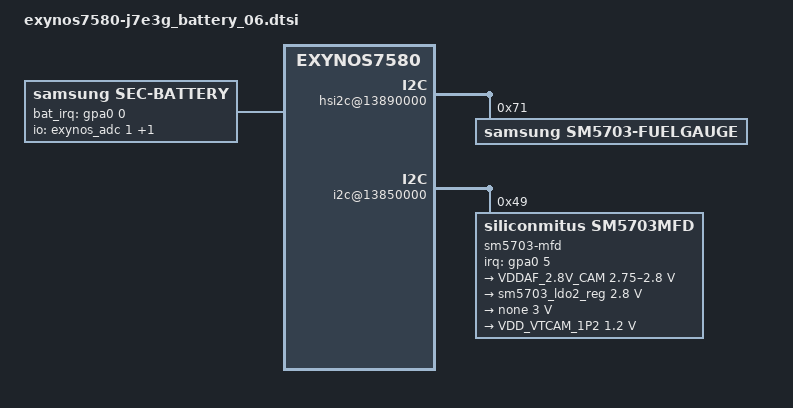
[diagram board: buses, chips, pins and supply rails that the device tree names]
/*
 * SAMSUNG UNIVERSAL5430 board device tree source
 *
 * Copyright (c) 2013 Samsung Electronics Co., Ltd.
 *		http://www.samsung.com
 *
 * This program is free software; you can redistribute it and/or modify
 * it under the terms of the GNU General Public License version 2 as
 * published by the Free Software Foundation.
*/

/ {
	pinctrl@139B0000 {
		fuel_irq: fuel-irq {
			samsung,pins = "gpa0-1";
			samsung,pin-function = <0>;
			samsung,pin-pud = <0>;
			samsung,pin-drv = <0>;
		};

		bat_irq: bat-irq {
			samsung,pins = "gpa0-0";
			samsung,pin-function = <0>;
			samsung,pin-pud = <0>;
			samsung,pin-drv = <0>;
		};
	};

	pinctrl@139B0000 {
		if_pmic_irq: if-pmic-irq {
			samsung,pins = "gpa0-5";
			samsung,pin-function = <0>;
			samsung,pin-pud = <0>;
			samsung,pin-drv = <0>;
		};
	};

	pinctrl@139C0000 {
		chg_en: chg-en {
			samsung,pins = "gpd3-1";
			samsung,pin-function = <1>;
			samsung,pin-pud = <0>;
			samsung,pin-drv = <0>;
		};
	};

	hsi2c@13890000 {
		status = "okay";
		sm5703-fuelgauge@71 {
			compatible = "samsung,sm5703-fuelgauge";
			reg = <0x71>;
			pinctrl-names = "default";
			pinctrl-0 = <&fuel_irq>;
			fuelgauge,fuel_int = <&gpa0 1 0>;
			fuelgauge,fuel_alert_soc = <2>;
			fuelgauge,capacity_max = <990>;
			fuelgauge,capacity_max_margin = <70>;
			fuelgauge,capacity_min = <0>;
			fuelgauge,capacity_calculation_type = <28>;
			fuelgauge,type_str = "SDI";
		};
	};

	battery_params {
		battery,id = <0>;
		battery0,battery_type = <4400>; /* 4200 4350 4400 */
		battery0,battery_table0 = <0x1400 0x1B33 0x1C0F 0x1D24 0x1D72 0x1D80 0x1DEC 0x1E19 0x1E5D 0x1ECC 0x1EF6 0x1F62 0x2004 0x20CC 0x22B0 0x2400>;
		battery0,battery_table1 = <0x1400 0x1B33 0x1C0F 0x1D24 0x1D72 0x1D80 0x1DEC 0x1E19 0x1E5D 0x1ECC 0x1EF6 0x1F62 0x2004 0x20CC 0x22B0 0x2400>;
		battery0,battery_table2 = <0x00 0x37 0x99 0x133 0x1CD 0x300 0x4CD 0x600 0x999 0xC99 0xD33 0xE66 0x10CC 0x1333 0x1800 0x1806>;
		battery0,temp_std = <25>;
		battery0,temp_offset = <10>;
		battery0,temp_offset_cal = <0x01>;
		battery0,rce_value = <0x0749 0x0580 0x371>;
		battery0,dtcd_value = <0x1>;
		battery0,rs_value = <0x1ae 0x47a 0x3800 0x00a4>; /*rs mix_factor max min*/
		battery0,vit_period = <0x350a>;
		battery0,mix_value = <0x0503 0x0004>; /*mix_rate init_blank*/
		battery0,topoff_soc = <0x0 0x05>; /*enable soc*/
		battery0,volt_cal = <0x8000>;
		battery0,curr_cal = <0x6900>;
		battery0,charge_offset_cal = <0x4>;
	};

	battery {
		status = "okay";

		pinctrl-names = "default";

		compatible = "samsung,sec-battery";
		battery,vendor = "SDI SDI";
		battery,charger_name = "sm5703-charger";
		battery,fuelgauge_name = "sm5703-fuelgauge";
		battery,technology = <2>; /* POWER_SUPPLY_TECHNOLOGY_LION */
		/* .temp_cohot = -1000; */
		/* .temp_cocold = -4325; */

		battery,chip_vendor = "LSI";
		battery,temp_adc_type = <1>; /* SEC_BATTERY_ADC_TYPE_AP */

		battery,polling_time = <10 30 30 30 3600>;

		battery,temp_table_adc = <332 342 352 363 373 383 393 403 414 424 434 450 466 482 498 515 530 
					546 561 577 593 610 627 644 661 681 701 722 744 769 789 810 837 856 872 
					924 950 970 984 1008 1032 1050 1090 1143 1170 1205 1235 1263 1335 1390 1459 
					1495 1532 1568 1605 1642 1692 1743 1793 1844 1895 1933 1972 2010 2049 2088 2126 
					2165 2203 2242 2281 2317 2353 2389 2425 2461 2509 2557 2612 2653 2706 2734 2767
					2800 2832 2911 2940 2980 3010 3050 3098 3130 3167 3200 3235 3269 3280 3290 3300
					3320 3340 3350 3360 3367 3386 3404 3409 3418 3426 3434 3442>;

		battery,temp_table_data = <900 890 880 870 860 850 840 830 820 810 800 790 780 770 760 750 740 730 720 710 700 690
					   680 670 660 650 640 630 620 610 600 590 580 570 560 550 540 530 520 510 500 490 480 470
					   460 450 440 430 420 410 400 390 380 370 360 350 340 330 320 310 300 290 280 270 260 250
					   240 230 220 210 200 190 180 170 160 150 140 130 120 110 100 90 80 70 60 50 40 30 20 10 
					   0 (-10) (-20) (-30) (-40) (-50) (-60) (-70) (-80) (-90) (-100) (-110) (-120) (-130) (-140)
					   (-150) (-160) (-170) (-180) (-190) (-200)>;

		battery,input_current_limit = <1500 0 0 1500 460 900 1000 460 1000 0 760 1450 1500 0 0 400 700 1300 300 1000 1500 0 1450 1000 1500 80 1500 1500 1400 450>;
		battery,fast_charging_current = <2000 0 0 2000 460 1200 1000 460 1200 0 900 1600 2000 0 0 400 700 1300 300 1000 1900 0 2000 1000 2000 80 1800 1000 1400 450>;
		battery,full_check_current_1st = <200 0 0 200 200 200 200 200 200 0 200 200 200 0 0 200 200 200 200 200 200 0 200 200 200 0 200 200 200 200>;
		battery,full_check_current_2nd = <100 0 0 100 100 100 100 100 100 0 100 100 100 0 0 100 100 100 100 100 100 0 100 100 100 0 100 100 100 100>;

		battery,inbat_voltage = <0>;
		battery,inbat_voltage_table_adc = <3120 3101 3061 3038 3001 2956 2920 2887 2856 2814
						2793 2754 2720 2677 2641 2613 2572 2531 2502 2467 2436>;
		battery,inbat_voltage_table_data = <438 435 430 425 420 415 410 405 400 395
						390 385 380 375 370 365 360 355 350 345 340>;

		battery,adc_check_count = <5>;

		battery,cable_check_type = <4>; /* SEC_BATTERY_CABLE_CHECK_NOUSBCHARGE | SEC_BATTERY_CABLE_CHECK_PSY */
		battery,cable_source_type = <1>; /* SEC_BATTERY_CABLE_SOURCE_EXTERNAL */
		battery,event_waiting_time = <600>;
		battery,polling_type = <1>; /* SEC_BATTERY_MONITOR_ALARM */
		battery,monitor_initial_count = <0>;

		battery,battery_check_type = <6>; /* SEC_BATTERY_CHECK_CHARGER */
		battery,check_count = <0>;
		pinctrl-0 = <&bat_irq>;
		battery,bat_irq_gpio = <&gpa0 0 0>;
		battery,bat_irq_attr = <0x00002003>;

		battery,ovp_uvlo_check_type = <3>; /* SEC_BATTERY_OVP_UVLO_CHGPOLLING */

		battery,thermal_source = <2>; /* SEC_BATTERY_THERMAL_SOURCE_ADC */

		battery,temp_check_type = <2>; /* SEC_BATTERY_TEMP_CHECK_TEMP */
		battery,temp_check_count = <1>;
		battery,temp_highlimit_threshold_event = <800>;
		battery,temp_highlimit_recovery_event = <750>;
		battery,temp_high_threshold_event = <580>;
		battery,temp_high_recovery_event = <530>;
		battery,temp_low_threshold_event = <(-50)>;
		battery,temp_low_recovery_event = <0>;
		battery,temp_highlimit_threshold_normal = <800>;
		battery,temp_highlimit_recovery_normal = <750>;
		battery,temp_high_threshold_normal = <580>;
		battery,temp_high_recovery_normal = <530>;
		battery,temp_low_threshold_normal = <(-50)>;
		battery,temp_low_recovery_normal = <0>;
		battery,temp_highlimit_threshold_lpm = <800>;
		battery,temp_highlimit_recovery_lpm = <750>;
		battery,temp_high_threshold_lpm = <580>;
		battery,temp_high_recovery_lpm = <530>;
		battery,temp_low_threshold_lpm = <(-50)>;
		battery,temp_low_recovery_lpm = <0>;
		battery,full_check_type = <7>; /* SEC_BATTERY_FULLCHARGED_CHGPSY */
		battery,full_check_type_2nd = <7>; /* SEC_BATTERY_FULLCHARGED_CHGPSY */
		battery,full_check_count = <1>;
		battery,chg_gpio_full_check = <0>;
		battery,chg_polarity_full_check = <1>;

		/* SEC_BATTERY_FULL_CONDITION_SOC |
		   SEC_BATTERY_FULL_CONDITION_NOTIMEFULL |
		   SEC_BATTERY_FULL_CONDITION_VCELL */
		battery,full_condition_type = <13>;
		battery,full_condition_soc = <93>;
		battery,full_condition_vcell = <4300>;

		battery,recharge_check_count = <2>;
		battery,recharge_condition_type = <4>; /* SEC_BATTERY_RECHARGE_CONDITION_VCELL */
		battery,recharge_condition_soc = <98>;
		battery,recharge_condition_vcell = <4350>;

		battery,charging_total_time = <21600>;
		battery,recharging_total_time = <5400>;
		battery,charging_reset_time = <0>;

		battery,always_enable;

		io-channels = <&exynos_adc 1>, <&exynos_adc 3>;
		io-channel-names = "adc-temp", "bat-id";
		#io-channel-cells = <1>;
		io-channel-ranges;

		battery,chg_float_voltage = <4400>;

		battery,self_discharging_en;
		battery,force_discharging_limit = <650>;
		battery,force_discharging_recov = <550>;
		battery,self_discharging_voltage_limit = <4250>;
		battery,discharging_adc_max = <2600>;
		battery,discharging_adc_min = <1700>;
		battery,discharging_ntc_limit = <2750>;

		battery,swelling_high_temp_block = <500>;
		battery,swelling_high_temp_recov = <450>;
		battery,swelling_low_temp_block = <50>;
		battery,swelling_low_temp_recov = <100>;
		battery,swelling_chg_current = <1800>;
		battery,swelling_drop_float_voltage = <4200>;
		battery,swelling_high_rechg_voltage = <4150>;
		battery,swelling_low_rechg_voltage = <4050>;
		battery,swelling_block_time = <600>;
		battery,swelling_high_temp_topoff = <200>;
		battery,swelling_low_temp_topoff = <200>;
	};

	i2c@13850000 {
		status = "okay";

		sm5703-mfd@49 {
			compatible = "siliconmitus,sm5703mfd";
			reg = <0x49>;
			pinctrl-names = "default";
			pinctrl-0 = <&chg_en &if_pmic_irq>;
			sm5703,irq-gpio = <&gpa0 5 0>;

			sm5703_ldo1 {
				compatible = "siliconmitus,sm5703-ldo1";
				regulator-name = "VDDAF_2.8V_CAM"; /* change name by yourself */
				regulator-min-microvolt = <2750000>;
				regulator-max-microvolt = <2800000>; /* max == min then apply_uV = 1 */
				/* regulator-microvolt-offset = < >; optional*/
				/* regulator-boot-on;*/ /* = "yes"; optional, exist = enabled */
				/* regulator-always-on;*/ /* = "yes"; optional, exist = enabled */
				/* regulator-ramp-delay = <100>; optional*/
			};

			sm5703_ldo2_reg: sm5703_ldo2 {
				compatible = "siliconmitus,sm5703-ldo2";
				regulator-name = "VDD_SENSOR_2P8"; /* change name by yourself */
				regulator-min-microvolt = <2800000>;
				regulator-max-microvolt = <2800000>; /* max == min then apply_uV = 1 */
				/* regulator-microvolt-offset = < >; optional*/
				/* regulator-boot-on;   = "yes"; optional, exist = enabled */
				/* regulator-always-on;   = "yes"; optional, exist = enabled */
				/* regulator-ramp-delay = <100>; optional*/
			};

			sm5703_ldo3 {
				compatible = "siliconmitus,sm5703-ldo3";
				regulator-name = "none"; /* change name by yourself */
				regulator-min-microvolt = <3000000>;
				regulator-max-microvolt = <3000000>; /* max == min then apply_uV = 1 */
				/* regulator-microvolt-offset = < >; optional*/
				/* regulator-boot-on = "yes"; optional, exist = enabled */
				/* regulator-always-on = "yes"; optional, exist = enabled */
				/* regulator-ramp-delay = <100>; optional*/
			};

			sm5703_buck {
				compatible = "siliconmitus,sm5703-buck";
				regulator-name = "VDD_VTCAM_1P2"; /* change name by yourself */
				regulator-min-microvolt = <1200000>;
				regulator-max-microvolt = <1200000>; /* max == min then apply_uV = 1 */
				/* regulator-microvolt-offset = < >; optional*/
				/* regulator-boot-on = "yes"; optional, exist = enabled */
				/* regulator-always-on = "yes"; optional, exist = enabled */
				/* regulator-ramp-delay = <100>; optional*/
			};

			sm5703_fled {
				compatible = "siliconmitus,sm5703-fled";
				enable = <1 1>;
				flash_current = <1200>;
				movie_current = <150>;
				torch_current = <100>;
				sm5703,led1-gpio = <&gpe0 2 0>;
				sm5703,led2-gpio = <&gpe0 1 0>;
				pinctrl-names = "fled_default","fled_sleep";
				pinctrl-0 = <&fled_flash_active>;
				pinctrl-1 = <&fled_flash_sleep>;
			};
		};
	};

	charger {
		status = "disable";
		compatible = "siliconmitus,sm5703-charger";

		/* Charger */
		battery,charger_name = "sm5703-charger";
		battery,chg_gpio_en = <&gpd3 1 0>;
		battery,chg_polarity_en = <0>;
		battery,chg_gpio_status = <0>;
		battery,chg_polarity_status = <0>;
		battery,chg_float_voltage = <4400>;
		chg_autostop = <0>;
		chg_autoset = <1>;
		chg_aiclen = <0>;
		chg_aiclth = <4500>;
		fg_vol_val = <4350>;
		fg_soc_val = <95>;
		fg_curr_avr_val = <150>;
	};
};
